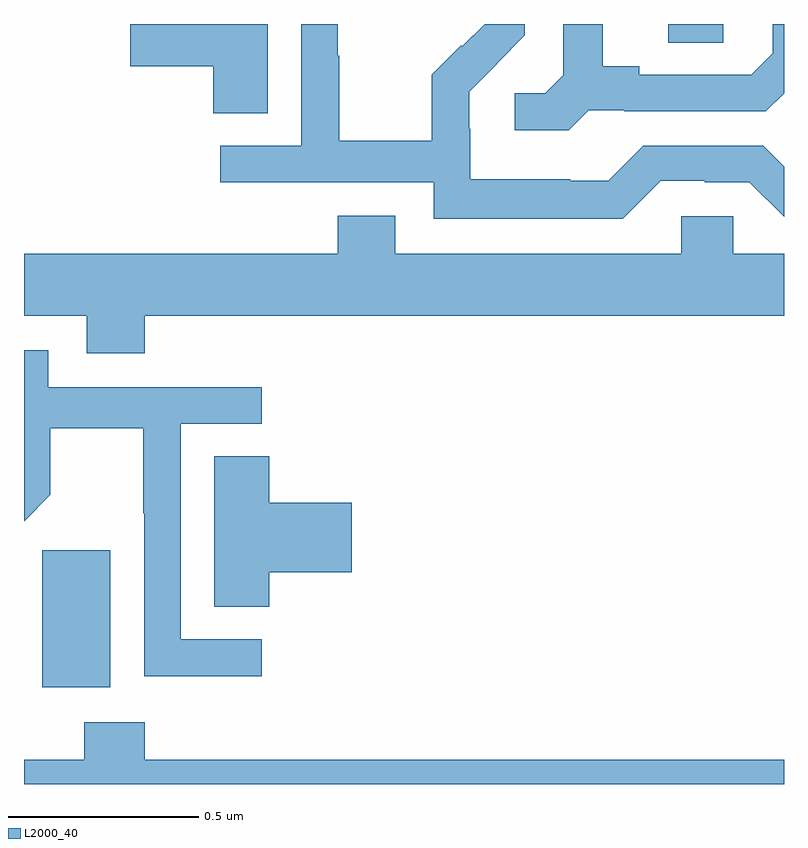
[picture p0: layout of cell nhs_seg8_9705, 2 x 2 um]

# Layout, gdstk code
import gdstk
lib = gdstk.Library(unit=1e-6, precision=1e-09)
def R(c, l, rs):  # rectangles x0, y0, x1, y1
    for r in rs: c.add(gdstk.rectangle(r[:2], r[2:], *l))
def P(c, l, *ps):  # polygons
    for p in ps: c.add(gdstk.Polygon(p, *l))
L2000_40 = (2000, 40)

nhs_seg8_9705 = lib.new_cell('nhs_seg8_9705')
R(nhs_seg8_9705, L2000_40, [(239.048,1150.154,239.227,1150.515), (240.695,1151.851,240.84,1151.9)])
P(nhs_seg8_9705, L2000_40, [(239.641,1151.9),(239.28,1151.9),(239.28,1151.789),(239.498,1151.789),(239.498,1151.665),(239.641,1151.665)],
  [(240.675,1151.487),(240.791,1151.487),(240.791,1151.484),(240.909,1151.484),(241,1151.393),(241,1151.525),(240.945,1151.58),(240.63,1151.58),(240.537,1151.487),(240.437,1151.487),(240.437,1151.491),(240.174,1151.491),(240.174,1151.625),(240.172,1151.625),(240.172,1151.722),(240.246,1151.796),(240.245,1151.797),(240.318,1151.87),(240.318,1151.9),(240.212,1151.9),(240.153,1151.841),(240.15,1151.844),(240.073,1151.767),(240.073,1151.593),(239.829,1151.593),(239.829,1151.816),(239.826,1151.816),(239.826,1151.9),(239.73,1151.9),(239.73,1151.58),(239.517,1151.58),(239.517,1151.484),(240.078,1151.484),(240.078,1151.387),(240.575,1151.387)],
  [(240.486,1151.673),(240.58,1151.673),(240.58,1151.67),(240.952,1151.67),(241,1151.718),(241,1151.9),(240.971,1151.9),(240.971,1151.823),(240.914,1151.766),(240.619,1151.766),(240.619,1151.789),(240.523,1151.789),(240.523,1151.9),(240.419,1151.9),(240.419,1151.765),(240.372,1151.718),(240.291,1151.718),(240.291,1151.621),(240.434,1151.621)],
  [(239.318,1151.132),(241,1151.132),(241,1151.296),(240.867,1151.296),(240.867,1151.394),(240.729,1151.394),(240.729,1151.296),(239.977,1151.296),(239.977,1151.395),(239.825,1151.395),(239.825,1151.296),(239,1151.296),(239,1151.132),(239.165,1151.132),(239.165,1151.033),(239.318,1151.033)],
  [(239.626,1150.281),(239.412,1150.281),(239.412,1150.848),(239.626,1150.848),(239.626,1150.944),(239.064,1150.944),(239.064,1151.041),(239,1151.041),(239,1150.592),(239.069,1150.661),(239.069,1150.836),(239.314,1150.836),(239.314,1150.612),(239.316,1150.612),(239.316,1150.183),(239.626,1150.183)],
  [(239.645,1150.457),(239.863,1150.457),(239.863,1150.64),(239.645,1150.64),(239.645,1150.763),(239.501,1150.763),(239.501,1150.366),(239.645,1150.366)],
  [(241,1149.964),(239.318,1149.964),(239.318,1150.063),(239.158,1150.063),(239.158,1149.964),(239,1149.964),(239,1149.9),(241,1149.9)])

lib.write_gds('nhs_seg8_9705.gds')
